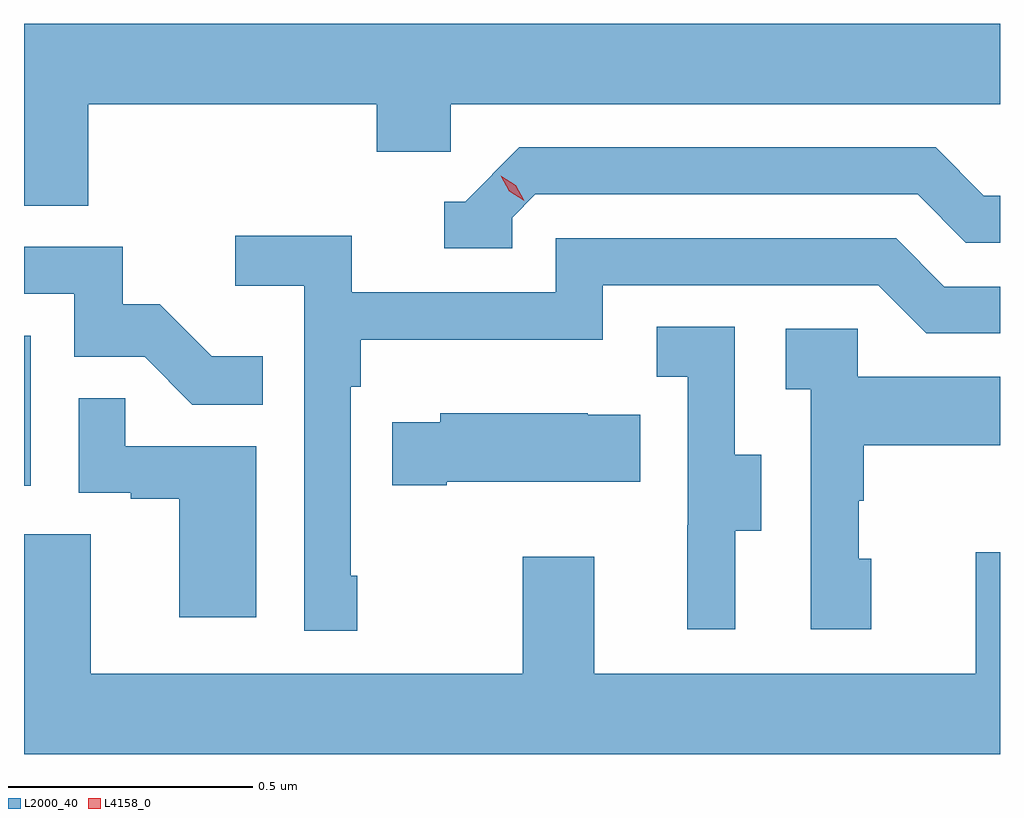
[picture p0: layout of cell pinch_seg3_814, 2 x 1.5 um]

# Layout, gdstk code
import gdstk
lib = gdstk.Library(unit=1e-6, precision=1e-09)
def R(c, l, rs):  # rectangles x0, y0, x1, y1
    for r in rs: c.add(gdstk.rectangle(r[:2], r[2:], *l))
def P(c, l, *ps):  # polygons
    for p in ps: c.add(gdstk.Polygon(p, *l))
L2000_40 = (2000, 40)
L4158_0 = (4158, 0)

pinch_seg3_814 = lib.new_cell('pinch_seg3_814')
R(pinch_seg3_814, L2000_40, [(875.426,710.79,875.44,711.097)])
P(pinch_seg3_814, L2000_40, [(875.558,711.572),(876.149,711.572),(876.149,711.474),(876.3,711.474),(876.3,711.572),(877.426,711.572),(877.426,711.736),(875.426,711.736),(875.426,711.364),(875.558,711.364)],
  [(876.426,711.339),(876.474,711.387),(877.257,711.387),(877.356,711.288),(877.426,711.288),(877.426,711.384),(877.393,711.384),(877.294,711.483),(876.441,711.483),(876.33,711.372),(876.287,711.372),(876.287,711.276),(876.426,711.276)],
  [(876.109,710.605),(876.096,710.605),(876.096,710.993),(876.116,710.993),(876.116,711.089),(876.612,711.089),(876.612,711.201),(877.176,711.201),(877.275,711.102),(877.426,711.102),(877.426,711.198),(877.312,711.198),(877.213,711.297),(876.516,711.297),(876.516,711.186),(876.098,711.186),(876.098,711.302),(875.859,711.302),(875.859,711.2),(876,711.2),(876,710.493),(876.109,710.493)],
  [(875.915,711.055),(875.811,711.055),(875.704,711.162),(875.628,711.162),(875.628,711.279),(875.426,711.279),(875.426,711.183),(875.529,711.183),(875.529,711.054),(875.673,711.054),(875.771,710.956),(875.915,710.956)],
  [(876.883,710.698),(876.937,710.698),(876.937,710.853),(876.882,710.853),(876.882,711.116),(876.723,711.116),(876.723,711.013),(876.786,711.013),(876.786,710.709),(876.785,710.709),(876.785,710.496),(876.883,710.496)],
  [(877.162,710.64),(877.137,710.64),(877.137,710.759),(877.147,710.759),(877.147,710.873),(877.426,710.873),(877.426,711.013),(877.134,711.013),(877.134,711.111),(876.987,711.111),(876.987,710.987),(877.038,710.987),(877.038,710.496),(877.162,710.496)],
  [(875.902,710.871),(875.633,710.871),(875.633,710.969),(875.538,710.969),(875.538,710.775),(875.645,710.775),(875.645,710.763),(875.744,710.763),(875.744,710.52),(875.902,710.52)],
  [(876.292,710.798),(876.689,710.798),(876.689,710.935),(876.581,710.935),(876.581,710.938),(876.279,710.938),(876.279,710.92),(876.181,710.92),(876.181,710.791),(876.292,710.791)],
  [(877.426,710.653),(877.376,710.653),(877.376,710.404),(876.595,710.404),(876.595,710.644),(876.448,710.644),(876.448,710.404),(875.563,710.404),(875.563,710.69),(875.426,710.69),(875.426,710.24),(877.426,710.24)])
P(pinch_seg3_814, L4158_0, [(876.451,711.374),(876.42,711.393),(876.403,711.425),(876.403,711.425),(876.403,711.425),(876.434,711.406),(876.451,711.374),(876.451,711.374)])

lib.write_gds('pinch_seg3_814.gds')
